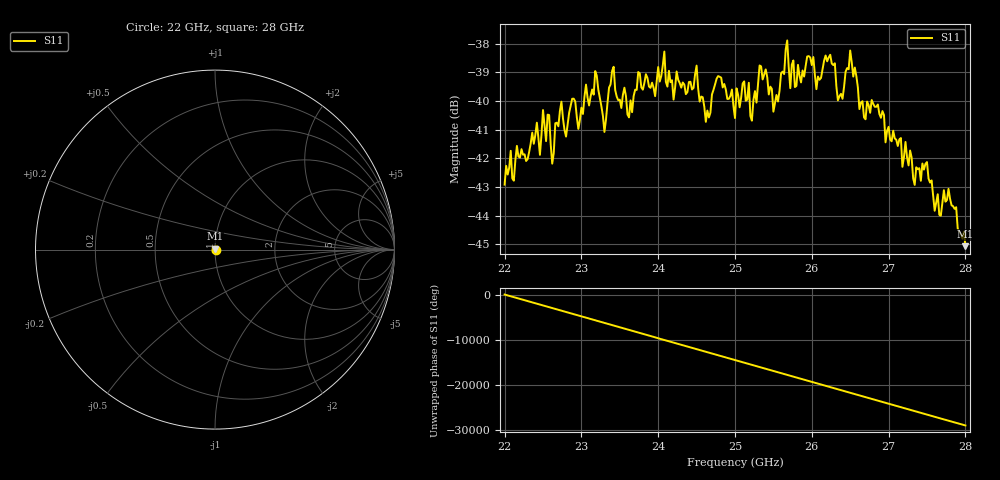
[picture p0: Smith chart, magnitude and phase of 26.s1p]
#  HZ  S  RI  R  50.00
! Rohde & Schwarz ZVA40 4Ports - Version 3.90 - 1145.1110k42 SN: 100403
! Date: 2023-10-04 07:26:23
! Measurement: S12
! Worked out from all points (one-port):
!   301 points, 22 GHz to 28 GHz, reference 50 ohm
!   lowest |S11| = -45.1 dB at 28 GHz (marker M1), VSWR 1.01, Z = 50 + j0.558 ohm
!   |S11| at or under -10 dB: start of sweep to end of sweep
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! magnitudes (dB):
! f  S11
! 22 GHz  -42.9
! 22.42 GHz  -40.8
! 22.46 GHz  -41.9
! 22.5 GHz  -40.3
! 22.62 GHz  -42.2
! 22.76 GHz  -40.6
! 22.96 GHz  -41.0
! 23.18 GHz  -39.0
! 23.3 GHz  -41.1
! 23.42 GHz  -38.8
! 23.5 GHz  -40.0
! 23.96 GHz  -39.8
! 24.08 GHz  -38.3
! 24.26 GHz  -39.3
! 25 GHz  -40.6
! 25.12 GHz  -39.3
! 25.22 GHz  -40.7
! 25.32 GHz  -38.8
! 25.5 GHz  -40.4
! 25.76 GHz  -38.6
! 26.06 GHz  -39.6
! 26.24 GHz  -38.4
! 26.34 GHz  -40.0
! 26.5 GHz  -38.2
! 26.62 GHz  -40.3
! 27.26 GHz  -42.2
! 27.78 GHz  -43.1
! 28 GHz  -45.1
